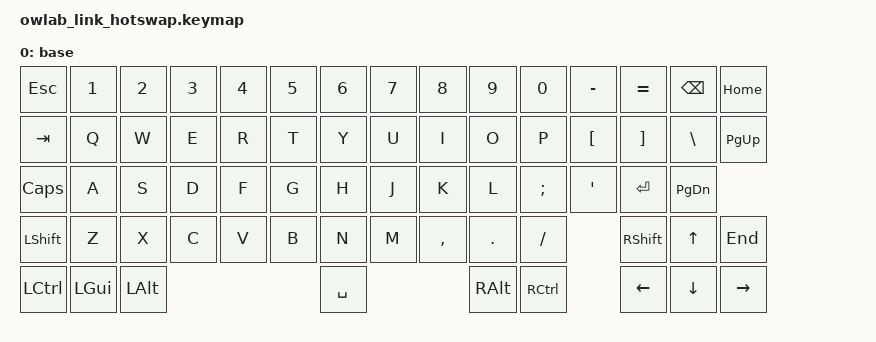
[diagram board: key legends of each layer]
// Copyright (c) 2023 The ZMK Contributors
// SPDX-License-Identifier: MIT

#include <behaviors.dtsi>
#include <dt-bindings/zmk/keys.h>

#define BASE  0

//
// ---------- Owlab LINK 2.0 key switch positions ----------
//
// -------------------------------------------------------------------------------------------------
// |  0  |  1  |  2  |  3  |  4  |  5  |  6  |  7  |  8  |  9  |  10 |  11 |  12 |     13    |  14 |
// -------------------------------------------------------------------------------------------------
// |  15    |  16 |  17 |  18 |  19 |  20 |  21 |  22 |  23 |  24 |  25 |  26 |  27 |   28   |  29 |
// -------------------------------------------------------------------------------------------------
// |  30     |  31 |  32 |  33 |  34 |  35 |  36 |  37 |  38 |  39 |  40 |  41 |      42     |  43 |
// -------------------------------------------------------------------------------------------------
// |     44     |  45 |  46 |  47 |  48 |  49 |  50 |  51 |  52 |  53 |  54 |    55    |  56 |  57 |
// -------------------------------------------------------------------------------------------------
// |   58  |   59  |   60  |                   61              |   62  |   63  | |  64 |  65 |  66 |
// -------------------------------------------------------------------------------------------------
//


/ {
    combos {
        compatible = "zmk,combos";

        // BACKSPACE + LCTRL + LALT = soft reset
        combo_sys_reset {
            timeout-ms = <100>;
            key-positions = <13 58 60>;
            bindings = <&sys_reset>;
        };
    };


    keymap {
        compatible = "zmk,keymap";

        base {

// --------- Default QWERTY Layout ---------
// Layer 0 BASE
// -------------------------------------------------------------------------------------------------
// | ESC |  1  |  2  |  3  |  4  |  5  |  6  |  7  |  8  |  9  |  0  |  -  |  =  |    BSPC   | HME |
// -------------------------------------------------------------------------------------------------
// | TAB    |  Q  |  W  |  E  |  R  |  T  |  Y  |  U  |  I  |  O  |  P  |  [  |  ]   |   \   | PGU |
// -------------------------------------------------------------------------------------------------
// | CAPS    |  A  |  S  |  D  |  F  |  G  |  H  |  J  |  K  |  L  |  ;  |  '   |    ENTER   | PGD |
// -------------------------------------------------------------------------------------------------
// | LSHIFT     |  Z  |  X  |  C  |  V  |  B  |  N  |  M  |  ,  |  .  |  /  |    RSHFT |  ↑  | END |
// -------------------------------------------------------------------------------------------------
// | LCTL | LGUI | LALT |                     SPACE         | RALT | RGUI | RCTL |  <- |  ↓  | ->  |
// -------------------------------------------------------------------------------------------------
            bindings = <
&kp ESC     &kp N1      &kp N2      &kp N3      &kp N4      &kp N5      &kp N6      &kp N7      &kp N8      &kp N9      &kp N0      &kp MINUS   &kp EQUAL   &kp BSPC    &kp HOME
&kp TAB     &kp Q       &kp W       &kp E       &kp R       &kp T       &kp Y       &kp U       &kp I       &kp O       &kp P       &kp LBKT    &kp RBKT    &kp BSLH    &kp PG_UP
&kp CLCK    &kp A       &kp S       &kp D       &kp F       &kp G       &kp H       &kp J       &kp K       &kp L       &kp SEMI    &kp SQT     &kp ENTER   &kp PG_DN
&kp LSHFT   &kp Z       &kp X       &kp C       &kp V       &kp B       &kp N       &kp M       &kp COMMA   &kp DOT     &kp FSLH                &kp RSHFT   &kp UP      &kp END
&kp LCTRL   &kp LGUI    &kp LALT                                        &kp SPACE                           &kp RALT    &kp RCTRL               &kp LEFT    &kp DOWN  &kp RIGHT
            >;
        };
    };
};
